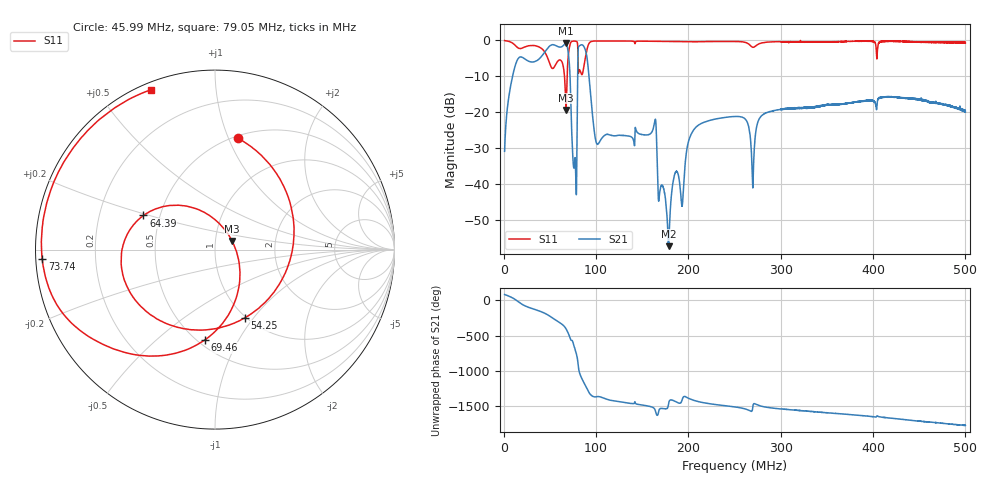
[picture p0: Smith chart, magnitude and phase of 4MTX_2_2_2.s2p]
! NanoVNA-App
! Date: 2026-08-18 20:43:32
! Start: 1MHz Stop: 500MHz Points: 6401
! S-Parameter data: F S11 S21 S12 S22
# Hz S RI R 50
!  Frequency  S11_Real  S11_Imag  S21_Real  S21_Imag  S12_Real  S12_Imag  S22_Real  S22_Imag
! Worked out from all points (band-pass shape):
!   6401 points, 1 MHz to 500 MHz, reference 50 ohm
!   highest |S21| = -0.87 dB at 67.2 MHz (marker M1); lowest = -57.4 dB at 178.5 MHz (marker M2)
!   |S21| within 3 dB of the highest: 42.91 MHz to 70.1 MHz (27.19 MHz wide, 48.1 % of centre); 80.49 MHz to 89.57 MHz (9.087 MHz wide, 10.7 % of centre)
!   lowest |S11| = -19.4 dB at 67.51 MHz (marker M3), VSWR 1.24, Z = 60.2 + j5.94 ohm
!   |S11| at or under -10 dB: 65.82 MHz to 68.68 MHz (2.858 MHz wide, 4.25 % of centre)
!   S12 and S22 are empty: the file has one direction only
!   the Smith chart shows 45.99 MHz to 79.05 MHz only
!   S11 on the Smith chart (normalised r, x): 45.99 MHz: 0.52, +1.08; 54.25 MHz: 0.99, -0.91; 64.39 MHz: 0.40, +0.19; 69.46 MHz: 0.55, -0.74; 73.74 MHz: 0.02, -0.03; 79.05 MHz: 0.03, +0.68
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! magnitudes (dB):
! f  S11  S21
! 1 MHz  -0.1  -30.9
! 14.49 MHz  -1.9  -5.6
! 45.99 MHz  -4.0  -2.8
! 54.25 MHz  -7.6  -1.3
! 64.39 MHz  -7.1  -1.5
! 67.2 MHz  -18.0  -0.9
! 67.51 MHz  -19.4  -0.9
! 69.46 MHz  -5.9  -2.6
! 73.74 MHz  -0.3  -26.0
! 76.79 MHz  -0.2  -34.6
! 79.05 MHz  -0.4  -37.7
! 84.19 MHz  -9.4  -1.3
! 101.1 MHz  -0.2  -29.0
! 162.9 MHz  -0.3  -23.7
! 167.4 MHz  -0.3  -43.4
! 178.5 MHz  -0.3  -57.4
! 205 MHz  -0.4  -25.2
! 250.5 MHz  -0.4  -21.2
! 269.8 MHz  -2.0  -41.1
! 333.7 MHz  -0.5  -18.8
! 416.9 MHz  -0.3  -15.7
! 500 MHz  -0.7  -20.0
